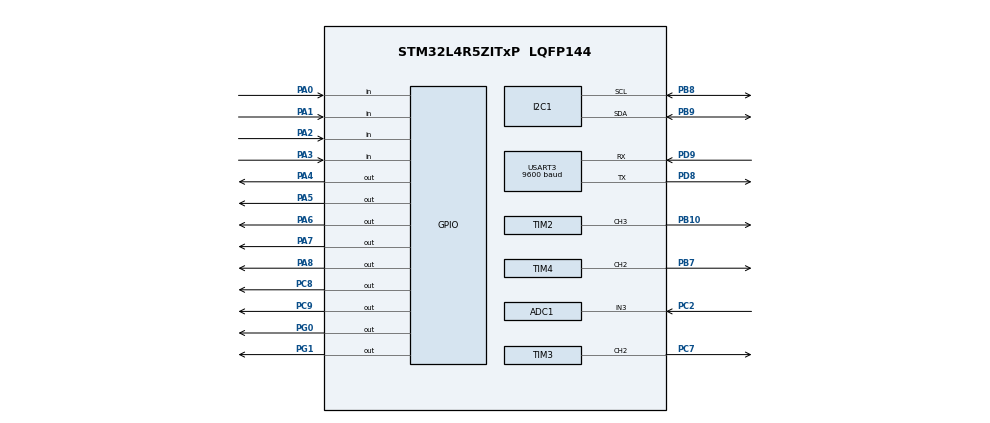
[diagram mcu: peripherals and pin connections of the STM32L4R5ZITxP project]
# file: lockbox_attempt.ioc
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ADC1.Channel-1\#ChannelRegularConversion=ADC_CHANNEL_3
ADC1.ClockPrescaler=ADC_CLOCK_ASYNC_DIV32
ADC1.NbrOfConversionFlag=1
ADC1.OffsetNumber-1\#ChannelRegularConversion=ADC_OFFSET_NONE
ADC1.Rank-1\#ChannelRegularConversion=1
ADC1.SamplingTime-1\#ChannelRegularConversion=ADC_SAMPLETIME_640CYCLES_5
ADC1.master=1
I2C1.Speed=40
I2C1.Timing=0x00000E50
Mcu.Family=STM32L4
Mcu.Name=STM32L4R5ZITxP
Mcu.Package=LQFP144
NVIC.PriorityGroup=NVIC_PRIORITYGROUP_4
NVIC.USART3_IRQn=true\:1\:0\:true\:false\:true\:true\:true\:true
PA0.GPIO_PuPd=GPIO_PULLUP
PA0.Signal=GPIO_Input
PA1.GPIO_PuPd=GPIO_PULLUP
PA1.Signal=GPIO_Input
PA10.Signal=USB_OTG_FS_ID
PA13\ (JTMS/SWDIO).Signal=SYS_JTMS-SWDIO
PA14\ (JTCK/SWCLK).Signal=SYS_JTCK-SWCLK
PA2.GPIO_PuPd=GPIO_PULLUP
PA2.Signal=GPIO_Input
PA3.GPIO_PuPd=GPIO_PULLUP
PA3.Signal=GPIO_Input
PA4.GPIO_ModeDefaultOutputPP=GPIO_MODE_OUTPUT_OD
PA4.GPIO_PuPd=GPIO_NOPULL
PA4.Signal=GPIO_Output
PA5.GPIO_ModeDefaultOutputPP=GPIO_MODE_OUTPUT_OD
PA5.GPIO_PuPd=GPIO_NOPULL
PA5.Signal=GPIO_Output
PA6.GPIO_ModeDefaultOutputPP=GPIO_MODE_OUTPUT_OD
PA6.GPIO_PuPd=GPIO_NOPULL
PA6.Signal=GPIO_Output
PA7.GPIO_ModeDefaultOutputPP=GPIO_MODE_OUTPUT_OD
PA7.GPIO_PuPd=GPIO_NOPULL
PA7.Signal=GPIO_Output
PA8.Signal=GPIO_Output
PA9.Signal=USB_OTG_FS_VBUS
PB0.Signal=S_TIM3_CH3
PB1.Signal=ADCx_IN16
PB10.Signal=S_TIM2_CH3
PB12.Signal=SAI2_FS_A
PB13.Signal=SAI2_SCK_A
PB14.Signal=S_TIM15_CH1
PB15.Signal=SAI2_SD_A
PB2.Signal=COMP1_INP
PB3\ (JTDO/TRACESWO).Signal=SPI3_SCK
PB4\ (NJTRST).Signal=SPI3_MISO
PB5.Signal=SPI3_MOSI
PB6.Signal=COMP2_INP
PB7.Signal=S_TIM4_CH2
PB8.Mode=I2C
PB8.Signal=I2C1_SCL
PB9.Mode=I2C
PB9.Signal=I2C1_SDA
PC10.Signal=SDMMC1_D2
PC11.Signal=SDMMC1_D3
PC12.Signal=SDMMC1_CK
PC13.Signal=SYS_WKUP2
PC14-OSC32_IN\ (PC14).Signal=RCC_OSC32_IN
PC15-OSC32_OUT\ (PC15).Signal=RCC_OSC32_OUT
PC2.Signal=ADCx_IN3
PC4.Signal=ADCx_IN13
PC5.Signal=ADCx_IN14
PC6.Signal=SAI2_MCLK_A
PC7.Signal=S_TIM3_CH2
PC8.GPIO_ModeDefaultOutputPP=GPIO_MODE_OUTPUT_PP
PC8.GPIO_PuPd=GPIO_NOPULL
PC8.Signal=GPIO_Output
PC9.Signal=GPIO_Output
PD0.Signal=CAN1_RX
PD14.Signal=S_TIM4_CH3
PD15.Signal=S_TIM4_CH4
PD2.Signal=SDMMC1_CMD
PD3.Signal=USART2_CTS
PD4.Signal=USART2_RTS
PD5.Signal=USART2_TX
PD6.Signal=USART2_RX
PD8.Mode=Asynchronous
PD8.Signal=USART3_TX
PD9.Mode=Asynchronous
PD9.Signal=USART3_RX
PE0.Signal=S_TIM4_ETR
PE10.Signal=TIM1_CH2N
PE11.Signal=S_TIM1_CH2
PE12.Signal=TIM1_CH3N
PE13.Signal=S_TIM1_CH3
PE14.Signal=TIM1_BKIN2
PE15.Signal=TIM1_BKIN
PE2.Signal=SAI1_MCLK_A
PE3.Signal=SAI1_SD_B
PE7.Signal=S_TIM1_ETR
PE8.Signal=TIM1_CH1N
PE9.Signal=S_TIM1_CH1
PF0.Signal=I2C2_SDA
PF1.Signal=I2C2_SCL
PF2.Signal=I2C2_SMBA
PF7.Signal=SAI1_MCLK_B
PG0.Signal=GPIO_Output
PG1.Signal=GPIO_Output
PG7.Signal=LPUART1_TX
PG8.Signal=LPUART1_RX
PH0-OSC_IN\ (PH0).Signal=RCC_OSC_IN
PH1-OSC_OUT\ (PH1).Signal=RCC_OSC_OUT
ProjectManager.HeapSize=0x200
ProjectManager.StackSize=0x400
ProjectManager.TargetToolchain=STM32CubeIDE
RCC.ADCFreq_Value=32000000
RCC.HSE_VALUE=8000000
RCC.HSI48_VALUE=48000000
RCC.HSI_VALUE=16000000
RCC.LSE_VALUE=32768
RCC.MSI_VALUE=4000000
RCC.PLLSAI1N=16
RCC.USBFreq_Value=32000000
RCC.VCOOutputFreq_Value=32000000
SH.ADCx_IN13.0=ADC1_IN13
SH.ADCx_IN14.0=ADC1_IN14
SH.ADCx_IN16.0=ADC1_IN16
SH.ADCx_IN3.0=ADC1_IN3,IN3-Single-Ended
SH.S_TIM15_CH1.0=TIM15_CH1
SH.S_TIM1_CH1.0=TIM1_CH1
SH.S_TIM1_CH2.0=TIM1_CH2
SH.S_TIM1_CH3.0=TIM1_CH3
SH.S_TIM1_ETR.0=TIM1_ETR
SH.S_TIM2_CH3.0=TIM2_CH3,PWM Generation3 CH3
SH.S_TIM3_CH2.0=TIM3_CH2,PWM Generation2 CH2
SH.S_TIM3_CH3.0=TIM3_CH3
SH.S_TIM4_CH2.0=TIM4_CH2,PWM Generation2 CH2
SH.S_TIM4_CH3.0=TIM4_CH3
SH.S_TIM4_CH4.0=TIM4_CH4
SH.S_TIM4_ETR.0=TIM4_ETR
TIM2.Channel-PWM\ Generation3\ CH3=TIM_CHANNEL_3
TIM2.Period=1999
TIM2.Prescaler=39
TIM2.Pulse-PWM\ Generation3\ CH3=750
TIM3.Channel-PWM\ Generation2\ CH2=TIM_CHANNEL_2
TIM3.Period=1999
TIM3.Prescaler=39
TIM3.Pulse-PWM\ Generation2\ CH2=500
TIM4.Channel-PWM\ Generation2\ CH2=TIM_CHANNEL_2
TIM4.Period=1999
TIM4.Prescaler=39
TIM4.Pulse-PWM\ Generation2\ CH2=150
USART3.BaudRate=9600
USART3.VirtualMode-Asynchronous=VM_ASYNC
VP_TIM2_VS_ClockSourceINT.Mode=Internal
VP_TIM3_VS_ClockSourceINT.Mode=Internal
VP_TIM4_VS_ClockSourceINT.Mode=Internal
board=NUCLEO-L4R5ZI-P

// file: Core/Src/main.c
/* USER CODE BEGIN Header */
/**
  ******************************************************************************
  * @file           : main.c
  * @brief          : Main program body
  ******************************************************************************
  ** This notice applies to any and all portions of this file
  * that are not between comment pairs USER CODE BEGIN and
  * USER CODE END. Other portions of this file, whether
  * inserted by the user or by software development tools
  * are owned by their respective copyright owners.
  *
  * COPYRIGHT(c) 2019 STMicroelectronics
  *
  * Redistribution and use in source and binary forms, with or without modification,
  * are permitted provided that the following conditions are met:
  *   1. Redistributions of source code must retain the above copyright notice,
  *      this list of conditions and the following disclaimer.
  *   2. Redistributions in binary form must reproduce the above copyright notice,
  *      this list of conditions and the following disclaimer in the documentation
  *      and/or other materials provided with the distribution.
  *   3. Neither the name of STMicroelectronics nor the names of its contributors
  *      may be used to endorse or promote products derived from this software
  *      without specific prior written permission.
  *
  * THIS SOFTWARE IS PROVIDED BY THE COPYRIGHT HOLDERS AND CONTRIBUTORS "AS IS"
  * AND ANY EXPRESS OR IMPLIED WARRANTIES, INCLUDING, BUT NOT LIMITED TO, THE
  * IMPLIED WARRANTIES OF MERCHANTABILITY AND FITNESS FOR A PARTICULAR PURPOSE ARE
  * DISCLAIMED. IN NO EVENT SHALL THE COPYRIGHT HOLDER OR CONTRIBUTORS BE LIABLE
  * FOR ANY DIRECT, INDIRECT, INCIDENTAL, SPECIAL, EXEMPLARY, OR CONSEQUENTIAL
  * DAMAGES (INCLUDING, BUT NOT LIMITED TO, PROCUREMENT OF SUBSTITUTE GOODS OR
  * SERVICES; LOSS OF USE, DATA, OR PROFITS; OR BUSINESS INTERRUPTION) HOWEVER
  * CAUSED AND ON ANY THEORY OF LIABILITY, WHETHER IN CONTRACT, STRICT LIABILITY,
  * OR TORT (INCLUDING NEGLIGENCE OR OTHERWISE) ARISING IN ANY WAY OUT OF THE USE
  * OF THIS SOFTWARE, EVEN IF ADVISED OF THE POSSIBILITY OF SUCH DAMAGE.
  *
  ******************************************************************************
  */
/* USER CODE END Header */
#include "main.h"

/* USER CODE BEGIN Includes */
#include "i2c-lcd.h"
#include <stdint.h>
#include <stdbool.h>
#include <string.h>

/* USER CODE END Includes */

/* USER CODE BEGIN PD */
#define R1_PORT GPIOA
#define R1_PIN GPIO_PIN_7

#define R2_PORT GPIOA
#define R2_PIN GPIO_PIN_6

#define R3_PORT GPIOA
#define R3_PIN GPIO_PIN_5

#define R4_PORT GPIOA
#define R4_PIN GPIO_PIN_4

#define C1_PORT GPIOA
#define C1_PIN GPIO_PIN_3

#define C2_PORT GPIOA
#define C2_PIN GPIO_PIN_2

#define C3_PORT GPIOA
#define C3_PIN GPIO_PIN_1

#define C4_PORT GPIOA
#define C4_PIN GPIO_PIN_0

#define MOTORLOGPORT GPIOG
#define MOTORLOG1 GPIO_PIN_0
#define MOTORLOG2 GPIO_PIN_1

#define XBEE_ADDR &huart3
#define LOCK_DOOR 1
#define UNLOCK_DOOR 2

/* USER CODE END PD */

ADC_HandleTypeDef hadc1;

I2C_HandleTypeDef hi2c1;

TIM_HandleTypeDef htim2;
TIM_HandleTypeDef htim3;
TIM_HandleTypeDef htim4;

UART_HandleTypeDef huart3;

/* USER CODE BEGIN PV */

bool open = true;
int IR_count = 0;
/* USER CODE END PV */

void SystemClock_Config(void);
static void MX_GPIO_Init(void);
static void MX_ADC1_Init(void);
static void MX_TIM2_Init(void);
static void MX_TIM3_Init(void);
static void MX_I2C1_Init(void);
static void MX_TIM4_Init(void);
static void MX_USART3_UART_Init(void);

/* USER CODE BEGIN 0 */
uint8_t key;

char read_keypad (void)
{
	/* Make ROW 1 LOW and all other ROWs HIGH */
	read_IR();// probably shouldn't be here but it works
	HAL_GPIO_WritePin (R1_PORT, R1_PIN, 0);  //Pull the R1 low
	HAL_GPIO_WritePin (R2_PORT, R2_PIN, 1);  // Pull the R2 High
	HAL_GPIO_WritePin (R3_PORT, R3_PIN, 1);  // Pull the R3 High
	HAL_GPIO_WritePin (R4_PORT, R4_PIN, 1);  // Pull the R4 High

	if (!(HAL_GPIO_ReadPin (C1_PORT, C1_PIN)))   // if the Col 1 is low
	{
		while (!(HAL_GPIO_ReadPin (C1_PORT, C1_PIN)));   // wait till the button is pressed
		lcd_send_data(0x31); // i
		return '1';
	}

	if (!(HAL_GPIO_ReadPin (C2_PORT, C2_PIN)))   // if the Col 2 is low
	{
		while (!(HAL_GPIO_ReadPin (C2_PORT, C2_PIN)));   // wait till the button is pressed
		lcd_send_data(0x32); // i
		return '2';
	}

	if (!(HAL_GPIO_ReadPin (C3_PORT, C3_PIN)))   // if the Col 3 is low
	{
		while (!(HAL_GPIO_ReadPin (C3_PORT, C3_PIN)));   // wait till the button is pressed
		lcd_send_data(0x33); // i
		return '3';
	}

	if (!(HAL_GPIO_ReadPin (C4_PORT, C4_PIN)))   // if the Col 4 is low
	{
		while (!(HAL_GPIO_ReadPin (C4_PORT, C4_PIN)));   // wait till the button is pressed
		lcd_send_data(0x41); // i
		return 'A';
	}

	/* Make ROW 2 LOW and all other ROWs HIGH */
	HAL_GPIO_WritePin (R1_PORT, R1_PIN, 1);  //Pull the R1 low
	HAL_GPIO_WritePin (R2_PORT, R2_PIN, 0);  // Pull the R2 High
	HAL_GPIO_WritePin (R3_PORT, R3_PIN, 1);  // Pull the R3 High
	HAL_GPIO_WritePin (R4_PORT, R4_PIN, 1);  // Pull the R4 High

	if (!(HAL_GPIO_ReadPin (C1_PORT, C1_PIN)))   // if the Col 1 is low
	{
		while (!(HAL_GPIO_ReadPin (C1_PORT, C1_PIN)));   // wait till the button is pressed
		lcd_send_data(0x34); // i
		return '4';
	}

	if (!(HAL_GPIO_ReadPin (C2_PORT, C2_PIN)))   // if the Col 2 is low
	{
		while (!(HAL_GPIO_ReadPin (C2_PORT, C2_PIN)));   // wait till the button is pressed
		lcd_send_data(0x35); // i
		return '5';
	}

	if (!(HAL_GPIO_ReadPin (C3_PORT, C3_PIN)))   // if the Col 3 is low
	{
		while (!(HAL_GPIO_ReadPin (C3_PORT, C3_PIN)));   // wait till the button is pressed
		lcd_send_data(0x36); // i
		return '6';
	}

	if (!(HAL_GPIO_ReadPin (C4_PORT, C4_PIN)))   // if the Col 4 is low
	{
		while (!(HAL_GPIO_ReadPin (C4_PORT, C4_PIN)));   // wait till the button is pressed
		lcd_send_data(0x42); // i
		return 'B';
	}

	/* Make ROW 3 LOW and all other ROWs HIGH */
	HAL_GPIO_WritePin (R1_PORT, R1_PIN, 1);  //Pull the R1 low
	HAL_GPIO_WritePin (R2_PORT, R2_PIN, 1);  // Pull the R2 High
	HAL_GPIO_WritePin (R3_PORT, R3_PIN, 0);  // Pull the R3 High
	HAL_GPIO_WritePin (R4_PORT, R4_PIN, 1);  // Pull the R4 High

	if (!(HAL_GPIO_ReadPin (C1_PORT, C1_PIN)))   // if the Col 1 is low
	{
		while (!(HAL_GPIO_ReadPin (C1_PORT, C1_PIN)));   // wait till the button is pressed
		lcd_send_data(0x37); // i
		return '7';
	}

	if (!(HAL_GPIO_ReadPin (C2_PORT, C2_PIN)))   // if the Col 2 is low
	{
		while (!(HAL_GPIO_ReadPin (C2_PORT, C2_PIN)));   // wait till the button is pressed
		lcd_send_data(0x38); // i
		return '8';
	}

	if (!(HAL_GPIO_ReadPin (C3_PORT, C3_PIN)))   // if the Col 3 is low
	{
		while (!(HAL_GPIO_ReadPin (C3_PORT, C3_PIN)));   // wait till the button is pressed
		lcd_send_data(0x39); // i
		return '9';
	}

	if (!(HAL_GPIO_ReadPin (C4_PORT, C4_PIN)))   // if the Col 4 is low
	{
		while (!(HAL_GPIO_ReadPin (C4_PORT, C4_PIN)));   // wait till the button is pressed
		return 'C';
	}

	/* Make ROW 4 LOW and all other ROWs HIGH */
	HAL_GPIO_WritePin (R1_PORT, R1_PIN, 1);  //Pull the R1 low
	HAL_GPIO_WritePin (R2_PORT, R2_PIN, 1);  // Pull the R2 High
	HAL_GPIO_WritePin (R3_PORT, R3_PIN, 1);  // Pull the R3 High
	HAL_GPIO_WritePin (R4_PORT, R4_PIN, 0);  // Pull the R4 High

	if (!(HAL_GPIO_ReadPin (C1_PORT, C1_PIN)))   // if the Col 1 is low
	{
		while (!(HAL_GPIO_ReadPin (C1_PORT, C1_PIN)));   // wait till the button is pressed
		return '*';
	}

	if (!(HAL_GPIO_ReadPin (C2_PORT, C2_PIN)))   // if the Col 2 is low
	{
		while (!(HAL_GPIO_ReadPin (C2_PORT, C2_PIN)));   // wait till the button is pressed
		lcd_send_data(0x30); // i
		return '0';
	}

	if (!(HAL_GPIO_ReadPin (C3_PORT, C3_PIN)))   // if the Col 3 is low
	{
		while (!(HAL_GPIO_ReadPin (C3_PORT, C3_PIN)));   // wait till the button is pressed
		lcd_send_data(0x23); // i
		return '#';
	}

	if (!(HAL_GPIO_ReadPin (C4_PORT, C4_PIN)))   // if the Col 4 is low
	{
		while (!(HAL_GPIO_ReadPin (C4_PORT, C4_PIN)));   // wait till the button is pressed
		lcd_send_data(0x44); // i
		return 'D';
	}

	return 0; // if returned, 0, we got an error

}

#define TIM_4_ADDR 0x40000800
#define TIM_CCR2_OFFSET 0x38

uint32_t* tim_4_ccr2 = (uint32_t *) (TIM_4_ADDR + TIM_CCR2_OFFSET);

uint8_t xbee_buff[100] = { 0 };

typedef struct xbee_frame_header {
uint8_t start_delim;
uint16_t length;
uint8_t frame_type;
uint8_t frame_id;
uint16_t dest_addr;
uint8_t options;
} xbee_frame_header_t;

void xbee_send_two_bytes(uint8_t *data, uint8_t *dest) {
	uint8_t checksum = 0xFF;
	xbee_frame_header_t header = {
		.start_delim = 0x7E,
		.length = 7, // num bytes between length and checksum
		.frame_type = 0x01, // 16-bit transmit request
		.frame_id = 0x00, // device will not emit a response frame
		.dest_addr = 0xD161, // broadcast address
		.options = 0, // no options set
	};
	checksum -= (header.frame_type + header.frame_id + dest[0] + dest[1] + data[0] + data[1]);
	uint8_t buf[] = {header.start_delim,
					0,
					header.length,
					header.frame_type,
					header.frame_id,
					dest[0], // dest_addr high bits
					dest[1], // dest_addr low bits
					header.options,
					data[0],
					data[1],
					checksum,
					};
	HAL_UART_Transmit(XBEE_ADDR, buf, 11, 10000); // header + 2 data bytes + 1 checksum byte
}

void HAL_UART_RxCpltCallback(UART_HandleTypeDef *huart)
{
  // handle received message
  uint8_t data[2] = {xbee_buff[8], xbee_buff[9]};

  if (data[0] == UNLOCK_DOOR) {
	  lcd_correct_pass();
	  lcd_init();
  }
  if (data[0] == LOCK_DOOR) {
	  close_door();
  }

  HAL_UART_Receive_IT(&huart3, xbee_buff, 11);
}

/* USER CODE END 0 */

int main(void)
{

  /* MCU Configuration--------------------------------------------------------*/

  /* Reset of all peripherals, Initializes the Flash interface and the Systick. */
  HAL_Init();

  /* Configure the system clock */
  SystemClock_Config();

  /* Initialize all configured peripherals */
  MX_GPIO_Init();
  MX_ADC1_Init();
  MX_TIM2_Init();
  MX_TIM3_Init();
  MX_I2C1_Init();
  MX_TIM4_Init();
  MX_USART3_UART_Init();
  /* USER CODE BEGIN 2 */

  lcd_init();
  close_door();
  HAL_UART_Receive_IT(&huart3, xbee_buff, 11);
  /* USER CODE END 2 */

  /* Infinite loop */
  /* USER CODE BEGIN WHILE */
char real_password[8] = "D";
char nice[] = "69420";
char pass[11] = "\0";
int index = 0;

HAL_TIM_PWM_Start(&htim4, TIM_CHANNEL_2);
HAL_TIM_PWM_Start(&htim2, TIM_CHANNEL_3);
*tim_4_ccr2 &= 0xffff;
*tim_4_ccr2 |= 150;

  while (1)
  {
    /* USER CODE END WHILE */

    /* USER CODE BEGIN 3 */
	  	 // Initialize an empty password of size 10 because of Null
	    char key = 0;
	    while (!key) {
	    	key = read_keypad ();
	    }
		if (key != 'C' && key != '*' && strlen(pass) < 10) {
		    // Append the key to the string
			pass[index++] = key;
			pass[index] = '\0';
		}
		if (key == 'C'){
			pass[0] = '\0';
			index = 0;
			lcd_init();
			open = false;
			HAL_GPIO_WritePin(MOTORLOGPORT, MOTORLOG1, 0);
			HAL_GPIO_WritePin(MOTORLOGPORT, MOTORLOG2, 1);

  	  	  }
		if (key == '*'){
			if (!strcmp(pass, nice)){
				lcd_nice();
			}
			else if (!strcmp(pass, real_password)) {
			     lcd_correct_pass();
			} else {
			     lcd_incorrect_pass();
			}
			pass[0] = '\0';
			index = 0;
			lcd_init();
		}
		if (strlen(pass) >= 10){
			lcd_incorrect_pass();
			pass[0] = '\0';
			index = 0;
			lcd_init();
		}

//		if (key!=0x01)
//		{
//		//lcd_send_cmd (0x85); dont know what this was supposed to be
//		lcd_send_data (key);
//		}

  }
  /* USER CODE END 3 */
}

void SystemClock_Config(void)
{
  RCC_OscInitTypeDef RCC_OscInitStruct = {0};
  RCC_ClkInitTypeDef RCC_ClkInitStruct = {0};

  /** Configure the main internal regulator output voltage
  */
  if (HAL_PWREx_ControlVoltageScaling(PWR_REGULATOR_VOLTAGE_SCALE1) != HAL_OK)
  {
    Error_Handler();
  }

  /** Initializes the RCC Oscillators according to the specified parameters
  * in the RCC_OscInitTypeDef structure.
  */
  RCC_OscInitStruct.OscillatorType = RCC_OSCILLATORTYPE_MSI;
  RCC_OscInitStruct.MSIState = RCC_MSI_ON;
  RCC_OscInitStruct.MSICalibrationValue = 0;
  RCC_OscInitStruct.MSIClockRange = RCC_MSIRANGE_6;
  RCC_OscInitStruct.PLL.PLLState = RCC_PLL_NONE;
  if (HAL_RCC_OscConfig(&RCC_OscInitStruct) != HAL_OK)
  {
    Error_Handler();
  }

  /** Initializes the CPU, AHB and APB buses clocks
  */
  RCC_ClkInitStruct.ClockType = RCC_CLOCKTYPE_HCLK|RCC_CLOCKTYPE_SYSCLK
                              |RCC_CLOCKTYPE_PCLK1|RCC_CLOCKTYPE_PCLK2;
  RCC_ClkInitStruct.SYSCLKSource = RCC_SYSCLKSOURCE_MSI;
  RCC_ClkInitStruct.AHBCLKDivider = RCC_SYSCLK_DIV1;
  RCC_ClkInitStruct.APB1CLKDivider = RCC_HCLK_DIV1;
  RCC_ClkInitStruct.APB2CLKDivider = RCC_HCLK_DIV1;

  if (HAL_RCC_ClockConfig(&RCC_ClkInitStruct, FLASH_LATENCY_0) != HAL_OK)
  {
    Error_Handler();
  }
}

static void MX_ADC1_Init(void)
{

  ADC_ChannelConfTypeDef sConfig = {0};

  /** Common config
  */
  hadc1.Instance = ADC1;
  hadc1.Init.ClockPrescaler = ADC_CLOCK_ASYNC_DIV32;
  hadc1.Init.Resolution = ADC_RESOLUTION_12B;
  hadc1.Init.DataAlign = ADC_DATAALIGN_RIGHT;
  hadc1.Init.ScanConvMode = ADC_SCAN_DISABLE;
  hadc1.Init.EOCSelection = ADC_EOC_SINGLE_CONV;
  hadc1.Init.LowPowerAutoWait = DISABLE;
  hadc1.Init.ContinuousConvMode = DISABLE;
  hadc1.Init.NbrOfConversion = 1;
  hadc1.Init.DiscontinuousConvMode = DISABLE;
  hadc1.Init.ExternalTrigConv = ADC_SOFTWARE_START;
  hadc1.Init.ExternalTrigConvEdge = ADC_EXTERNALTRIGCONVEDGE_NONE;
  hadc1.Init.DMAContinuousRequests = DISABLE;
  hadc1.Init.Overrun = ADC_OVR_DATA_PRESERVED;
  hadc1.Init.OversamplingMode = DISABLE;
  if (HAL_ADC_Init(&hadc1) != HAL_OK)
  {
    Error_Handler();
  }

  /** Configure Regular Channel
  */
  sConfig.Channel = ADC_CHANNEL_3;
  sConfig.Rank = ADC_REGULAR_RANK_1;
  sConfig.SamplingTime = ADC_SAMPLETIME_640CYCLES_5;
  sConfig.SingleDiff = ADC_SINGLE_ENDED;
  sConfig.OffsetNumber = ADC_OFFSET_NONE;
  sConfig.Offset = 0;
  if (HAL_ADC_ConfigChannel(&hadc1, &sConfig) != HAL_OK)
  {
    Error_Handler();
  }

}

static void MX_I2C1_Init(void)
{

  hi2c1.Instance = I2C1;
  hi2c1.Init.Timing = 0x00000E50;
  hi2c1.Init.OwnAddress1 = 0;
  hi2c1.Init.AddressingMode = I2C_ADDRESSINGMODE_7BIT;
  hi2c1.Init.DualAddressMode = I2C_DUALADDRESS_DISABLE;
  hi2c1.Init.OwnAddress2 = 0;
  hi2c1.Init.OwnAddress2Masks = I2C_OA2_NOMASK;
  hi2c1.Init.GeneralCallMode = I2C_GENERALCALL_DISABLE;
  hi2c1.Init.NoStretchMode = I2C_NOSTRETCH_DISABLE;
  if (HAL_I2C_Init(&hi2c1) != HAL_OK)
  {
    Error_Handler();
  }

  /** Configure Analogue filter
  */
  if (HAL_I2CEx_ConfigAnalogFilter(&hi2c1, I2C_ANALOGFILTER_ENABLE) != HAL_OK)
  {
    Error_Handler();
  }

  /** Configure Digital filter
  */
  if (HAL_I2CEx_ConfigDigitalFilter(&hi2c1, 0) != HAL_OK)
  {
    Error_Handler();
  }

}

static void MX_TIM2_Init(void)
{

  TIM_ClockConfigTypeDef sClockSourceConfig = {0};
  TIM_MasterConfigTypeDef sMasterConfig = {0};
  TIM_OC_InitTypeDef sConfigOC = {0};

  htim2.Instance = TIM2;
  htim2.Init.Prescaler = 39;
  htim2.Init.CounterMode = TIM_COUNTERMODE_UP;
  htim2.Init.Period = 1999;
  htim2.Init.ClockDivision = TIM_CLOCKDIVISION_DIV1;
  htim2.Init.AutoReloadPreload = TIM_AUTORELOAD_PRELOAD_DISABLE;
  if (HAL_TIM_Base_Init(&htim2) != HAL_OK)
  {
    Error_Handler();
  }
  sClockSourceConfig.ClockSource = TIM_CLOCKSOURCE_INTERNAL;
  if (HAL_TIM_ConfigClockSource(&htim2, &sClockSourceConfig) != HAL_OK)
  {
    Error_Handler();
  }
  if (HAL_TIM_PWM_Init(&htim2) != HAL_OK)
  {
    Error_Handler();
  }
  sMasterConfig.MasterOutputTrigger = TIM_TRGO_RESET;
  sMasterConfig.MasterSlaveMode = TIM_MASTERSLAVEMODE_DISABLE;
  if (HAL_TIMEx_MasterConfigSynchronization(&htim2, &sMasterConfig) != HAL_OK)
  {
    Error_Handler();
  }
  sConfigOC.OCMode = TIM_OCMODE_PWM1;
  sConfigOC.Pulse = 750;
  sConfigOC.OCPolarity = TIM_OCPOLARITY_HIGH;
  sConfigOC.OCFastMode = TIM_OCFAST_DISABLE;
  if (HAL_TIM_PWM_ConfigChannel(&htim2, &sConfigOC, TIM_CHANNEL_3) != HAL_OK)
  {
    Error_Handler();
  }
  HAL_TIM_MspPostInit(&htim2);

}

static void MX_TIM3_Init(void)
{

  TIM_ClockConfigTypeDef sClockSourceConfig = {0};
  TIM_MasterConfigTypeDef sMasterConfig = {0};
  TIM_OC_InitTypeDef sConfigOC = {0};

  htim3.Instance = TIM3;
  htim3.Init.Prescaler = 39;
  htim3.Init.CounterMode = TIM_COUNTERMODE_UP;
  htim3.Init.Period = 1999;
  htim3.Init.ClockDivision = TIM_CLOCKDIVISION_DIV1;
  htim3.Init.AutoReloadPreload = TIM_AUTORELOAD_PRELOAD_DISABLE;
  if (HAL_TIM_Base_Init(&htim3) != HAL_OK)
  {
    Error_Handler();
  }
  sClockSourceConfig.ClockSource = TIM_CLOCKSOURCE_INTERNAL;
  if (HAL_TIM_ConfigClockSource(&htim3, &sClockSourceConfig) != HAL_OK)
  {
    Error_Handler();
  }
  if (HAL_TIM_PWM_Init(&htim3) != HAL_OK)
  {
    Error_Handler();
  }
  sMasterConfig.MasterOutputTrigger = TIM_TRGO_RESET;
  sMasterConfig.MasterSlaveMode = TIM_MASTERSLAVEMODE_DISABLE;
  if (HAL_TIMEx_MasterConfigSynchronization(&htim3, &sMasterConfig) != HAL_OK)
  {
    Error_Handler();
  }
  sConfigOC.OCMode = TIM_OCMODE_PWM1;
  sConfigOC.Pulse = 500;
  sConfigOC.OCPolarity = TIM_OCPOLARITY_HIGH;
  sConfigOC.OCFastMode = TIM_OCFAST_DISABLE;
  if (HAL_TIM_PWM_ConfigChannel(&htim3, &sConfigOC, TIM_CHANNEL_2) != HAL_OK)
  {
    Error_Handler();
  }
  HAL_TIM_MspPostInit(&htim3);

}

static void MX_TIM4_Init(void)
{

  TIM_ClockConfigTypeDef sClockSourceConfig = {0};
  TIM_MasterConfigTypeDef sMasterConfig = {0};
  TIM_OC_InitTypeDef sConfigOC = {0};

  htim4.Instance = TIM4;
  htim4.Init.Prescaler = 39;
  htim4.Init.CounterMode = TIM_COUNTERMODE_UP;
  htim4.Init.Period = 1999;
  htim4.Init.ClockDivision = TIM_CLOCKDIVISION_DIV1;
  htim4.Init.AutoReloadPreload = TIM_AUTORELOAD_PRELOAD_DISABLE;
  if (HAL_TIM_Base_Init(&htim4) != HAL_OK)
  {
    Error_Handler();
  }
  sClockSourceConfig.ClockSource = TIM_CLOCKSOURCE_INTERNAL;
  if (HAL_TIM_ConfigClockSource(&htim4, &sClockSourceConfig) != HAL_OK)
  {
    Error_Handler();
  }
  if (HAL_TIM_PWM_Init(&htim4) != HAL_OK)
  {
    Error_Handler();
  }
  sMasterConfig.MasterOutputTrigger = TIM_TRGO_RESET;
  sMasterConfig.MasterSlaveMode = TIM_MASTERSLAVEMODE_DISABLE;
  if (HAL_TIMEx_MasterConfigSynchronization(&htim4, &sMasterConfig) != HAL_OK)
  {
    Error_Handler();
  }
  sConfigOC.OCMode = TIM_OCMODE_PWM1;
  sConfigOC.Pulse = 150;
  sConfigOC.OCPolarity = TIM_OCPOLARITY_HIGH;
  sConfigOC.OCFastMode = TIM_OCFAST_DISABLE;
  if (HAL_TIM_PWM_ConfigChannel(&htim4, &sConfigOC, TIM_CHANNEL_2) != HAL_OK)
  {
    Error_Handler();
  }
  HAL_TIM_MspPostInit(&htim4);

}

static void MX_USART3_UART_Init(void)
{

  huart3.Instance = USART3;
  huart3.Init.BaudRate = 9600;
  huart3.Init.WordLength = UART_WORDLENGTH_8B;
  huart3.Init.StopBits = UART_STOPBITS_1;
  huart3.Init.Parity = UART_PARITY_NONE;
  huart3.Init.Mode = UART_MODE_TX_RX;
  huart3.Init.HwFlowCtl = UART_HWCONTROL_NONE;
  huart3.Init.OverSampling = UART_OVERSAMPLING_16;
  huart3.Init.OneBitSampling = UART_ONE_BIT_SAMPLE_DISABLE;
  huart3.Init.ClockPrescaler = UART_PRESCALER_DIV1;
  huart3.AdvancedInit.AdvFeatureInit = UART_ADVFEATURE_NO_INIT;
  if (HAL_UART_Init(&huart3) != HAL_OK)
  {
    Error_Handler();
  }
  if (HAL_UARTEx_SetTxFifoThreshold(&huart3, UART_TXFIFO_THRESHOLD_1_8) != HAL_OK)
  {
    Error_Handler();
  }
  if (HAL_UARTEx_SetRxFifoThreshold(&huart3, UART_RXFIFO_THRESHOLD_1_8) != HAL_OK)
  {
    Error_Handler();
  }
  if (HAL_UARTEx_DisableFifoMode(&huart3) != HAL_OK)
  {
    Error_Handler();
  }

}

static void MX_GPIO_Init(void)
{
  GPIO_InitTypeDef GPIO_InitStruct = {0};

  /* GPIO Ports Clock Enable */
  __HAL_RCC_GPIOE_CLK_ENABLE();
  __HAL_RCC_GPIOC_CLK_ENABLE();
  __HAL_RCC_GPIOF_CLK_ENABLE();
  __HAL_RCC_GPIOH_CLK_ENABLE();
  __HAL_RCC_GPIOA_CLK_ENABLE();
  __HAL_RCC_GPIOB_CLK_ENABLE();
  __HAL_RCC_GPIOG_CLK_ENABLE();
  __HAL_RCC_GPIOD_CLK_ENABLE();
  HAL_PWREx_EnableVddIO2();

  /*Configure GPIO pin Output Level */
  HAL_GPIO_WritePin(GPIOA, GPIO_PIN_4|GPIO_PIN_5|GPIO_PIN_6|GPIO_PIN_7
                          |GPIO_PIN_8, GPIO_PIN_RESET);

  /*Configure GPIO pin Output Level */
  HAL_GPIO_WritePin(GPIOG, GPIO_PIN_0|GPIO_PIN_1, GPIO_PIN_RESET);

  /*Configure GPIO pin Output Level */
  HAL_GPIO_WritePin(GPIOC, GPIO_PIN_8|GPIO_PIN_9, GPIO_PIN_RESET);

  /*Configure GPIO pins : PE2 PE3 */
  GPIO_InitStruct.Pin = GPIO_PIN_2|GPIO_PIN_3;
  GPIO_InitStruct.Mode = GPIO_MODE_AF_PP;
  GPIO_InitStruct.Pull = GPIO_NOPULL;
  GPIO_InitStruct.Speed = GPIO_SPEED_FREQ_LOW;
  GPIO_InitStruct.Alternate = GPIO_AF13_SAI1;
  HAL_GPIO_Init(GPIOE, &GPIO_InitStruct);

  /*Configure GPIO pins : PF0 PF1 PF2 */
  GPIO_InitStruct.Pin = GPIO_PIN_0|GPIO_PIN_1|GPIO_PIN_2;
  GPIO_InitStruct.Mode = GPIO_MODE_AF_OD;
  GPIO_InitStruct.Pull = GPIO_NOPULL;
  GPIO_InitStruct.Speed = GPIO_SPEED_FREQ_VERY_HIGH;
  GPIO_InitStruct.Alternate = GPIO_AF4_I2C2;
  HAL_GPIO_Init(GPIOF, &GPIO_InitStruct);

  /*Configure GPIO pin : PF7 */
  GPIO_InitStruct.Pin = GPIO_PIN_7;
  GPIO_InitStruct.Mode = GPIO_MODE_AF_PP;
  GPIO_InitStruct.Pull = GPIO_NOPULL;
  GPIO_InitStruct.Speed = GPIO_SPEED_FREQ_LOW;
  GPIO_InitStruct.Alternate = GPIO_AF13_SAI1;
  HAL_GPIO_Init(GPIOF, &GPIO_InitStruct);

  /*Configure GPIO pins : PA0 PA1 PA2 PA3 */
  GPIO_InitStruct.Pin = GPIO_PIN_0|GPIO_PIN_1|GPIO_PIN_2|GPIO_PIN_3;
  GPIO_InitStruct.Mode = GPIO_MODE_INPUT;
  GPIO_InitStruct.Pull = GPIO_PULLUP;
  HAL_GPIO_Init(GPIOA, &GPIO_InitStruct);

  /*Configure GPIO pins : PA4 PA5 PA6 PA7 */
  GPIO_InitStruct.Pin = GPIO_PIN_4|GPIO_PIN_5|GPIO_PIN_6|GPIO_PIN_7;
  GPIO_InitStruct.Mode = GPIO_MODE_OUTPUT_OD;
  GPIO_InitStruct.Pull = GPIO_NOPULL;
  GPIO_InitStruct.Speed = GPIO_SPEED_FREQ_LOW;
  HAL_GPIO_Init(GPIOA, &GPIO_InitStruct);

  /*Configure GPIO pins : PB2 PB6 */
  GPIO_InitStruct.Pin = GPIO_PIN_2|GPIO_PIN_6;
  GPIO_InitStruct.Mode = GPIO_MODE_ANALOG;
  GPIO_InitStruct.Pull = GPIO_NOPULL;
  HAL_GPIO_Init(GPIOB, &GPIO_InitStruct);

  /*Configure GPIO pins : PG0 PG1 */
  GPIO_InitStruct.Pin = GPIO_PIN_0|GPIO_PIN_1;
  GPIO_InitStruct.Mode = GPIO_MODE_OUTPUT_PP;
  GPIO_InitStruct.Pull = GPIO_NOPULL;
  GPIO_InitStruct.Speed = GPIO_SPEED_FREQ_LOW;
  HAL_GPIO_Init(GPIOG, &GPIO_InitStruct);

  /*Configure GPIO pins : PE7 PE8 PE9 PE10
                           PE11 PE12 PE13 */
  GPIO_InitStruct.Pin = GPIO_PIN_7|GPIO_PIN_8|GPIO_PIN_9|GPIO_PIN_10
                          |GPIO_PIN_11|GPIO_PIN_12|GPIO_PIN_13;
  GPIO_InitStruct.Mode = GPIO_MODE_AF_PP;
  GPIO_InitStruct.Pull = GPIO_NOPULL;
  GPIO_InitStruct.Speed = GPIO_SPEED_FREQ_LOW;
  GPIO_InitStruct.Alternate = GPIO_AF1_TIM1;
  HAL_GPIO_Init(GPIOE, &GPIO_InitStruct);

  /*Configure GPIO pins : PE14 PE15 */
  GPIO_InitStruct.Pin = GPIO_PIN_14|GPIO_PIN_15;
  GPIO_InitStruct.Mode = GPIO_MODE_AF_PP;
  GPIO_InitStruct.Pull = GPIO_NOPULL;
  GPIO_InitStruct.Speed = GPIO_SPEED_FREQ_LOW;
  GPIO_InitStruct.Alternate = GPIO_AF3_TIM1_COMP1;
  HAL_GPIO_Init(GPIOE, &GPIO_InitStruct);

  /*Configure GPIO pins : PB12 PB13 PB15 */
  GPIO_InitStruct.Pin = GPIO_PIN_12|GPIO_PIN_13|GPIO_PIN_15;
  GPIO_InitStruct.Mode = GPIO_MODE_AF_PP;
  GPIO_InitStruct.Pull = GPIO_NOPULL;
  GPIO_InitStruct.Speed = GPIO_SPEED_FREQ_LOW;
  GPIO_InitStruct.Alternate = GPIO_AF13_SAI2;
  HAL_GPIO_Init(GPIOB, &GPIO_InitStruct);

  /*Configure GPIO pin : PB14 */
  GPIO_InitStruct.Pin = GPIO_PIN_14;
  GPIO_InitStruct.Mode = GPIO_MODE_AF_PP;
  GPIO_InitStruct.Pull = GPIO_NOPULL;
  GPIO_InitStruct.Speed = GPIO_SPEED_FREQ_LOW;
  GPIO_InitStruct.Alternate = GPIO_AF14_TIM15;
  HAL_GPIO_Init(GPIOB, &GPIO_InitStruct);

  /*Configure GPIO pins : PG7 PG8 */
  GPIO_InitStruct.Pin = GPIO_PIN_7|GPIO_PIN_8;
  GPIO_InitStruct.Mode = GPIO_MODE_AF_PP;
  GPIO_InitStruct.Pull = GPIO_NOPULL;
  GPIO_InitStruct.Speed = GPIO_SPEED_FREQ_VERY_HIGH;
  GPIO_InitStruct.Alternate = GPIO_AF8_LPUART1;
  HAL_GPIO_Init(GPIOG, &GPIO_InitStruct);

  /*Configure GPIO pin : PC6 */
  GPIO_InitStruct.Pin = GPIO_PIN_6;
  GPIO_InitStruct.Mode = GPIO_MODE_AF_PP;
  GPIO_InitStruct.Pull = GPIO_NOPULL;
  GPIO_InitStruct.Speed = GPIO_SPEED_FREQ_LOW;
  GPIO_InitStruct.Alternate = GPIO_AF13_SAI2;
  HAL_GPIO_Init(GPIOC, &GPIO_InitStruct);

  /*Configure GPIO pins : PC8 PC9 */
  GPIO_InitStruct.Pin = GPIO_PIN_8|GPIO_PIN_9;
  GPIO_InitStruct.Mode = GPIO_MODE_OUTPUT_PP;
  GPIO_InitStruct.Pull = GPIO_NOPULL;
  GPIO_InitStruct.Speed = GPIO_SPEED_FREQ_LOW;
  HAL_GPIO_Init(GPIOC, &GPIO_InitStruct);

  /*Configure GPIO pin : PA8 */
  GPIO_InitStruct.Pin = GPIO_PIN_8;
  GPIO_InitStruct.Mode = GPIO_MODE_OUTPUT_PP;
  GPIO_InitStruct.Pull = GPIO_NOPULL;
  GPIO_InitStruct.Speed = GPIO_SPEED_FREQ_LOW;
  HAL_GPIO_Init(GPIOA, &GPIO_InitStruct);

  /*Configure GPIO pin : PA9 */
  GPIO_InitStruct.Pin = GPIO_PIN_9;
  GPIO_InitStruct.Mode = GPIO_MODE_INPUT;
  GPIO_InitStruct.Pull = GPIO_NOPULL;
  HAL_GPIO_Init(GPIOA, &GPIO_InitStruct);

  /*Configure GPIO pin : PA10 */
  GPIO_InitStruct.Pin = GPIO_PIN_10;
  GPIO_InitStruct.Mode = GPIO_MODE_AF_PP;
  GPIO_InitStruct.Pull = GPIO_NOPULL;
  GPIO_InitStruct.Speed = GPIO_SPEED_FREQ_VERY_HIGH;
  GPIO_InitStruct.Alternate = GPIO_AF10_OTG_FS;
  HAL_GPIO_Init(GPIOA, &GPIO_InitStruct);

  /*Configure GPIO pins : PC10 PC11 PC12 */
  GPIO_InitStruct.Pin = GPIO_PIN_10|GPIO_PIN_11|GPIO_PIN_12;
  GPIO_InitStruct.Mode = GPIO_MODE_AF_PP;
  GPIO_InitStruct.Pull = GPIO_NOPULL;
  GPIO_InitStruct.Speed = GPIO_SPEED_FREQ_VERY_HIGH;
  GPIO_InitStruct.Alternate = GPIO_AF12_SDMMC1;
  HAL_GPIO_Init(GPIOC, &GPIO_InitStruct);

  /*Configure GPIO pin : PD0 */
  GPIO_InitStruct.Pin = GPIO_PIN_0;
  GPIO_InitStruct.Mode = GPIO_MODE_AF_PP;
  GPIO_InitStruct.Pull = GPIO_NOPULL;
  GPIO_InitStruct.Speed = GPIO_SPEED_FREQ_VERY_HIGH;
  GPIO_InitStruct.Alternate = GPIO_AF9_CAN1;
  HAL_GPIO_Init(GPIOD, &GPIO_InitStruct);

  /*Configure GPIO pin : PD2 */
  GPIO_InitStruct.Pin = GPIO_PIN_2;
  GPIO_InitStruct.Mode = GPIO_MODE_AF_PP;
  GPIO_InitStruct.Pull = GPIO_NOPULL;
  GPIO_InitStruct.Speed = GPIO_SPEED_FREQ_VERY_HIGH;
  GPIO_InitStruct.Alternate = GPIO_AF12_SDMMC1;
  HAL_GPIO_Init(GPIOD, &GPIO_InitStruct);

  /*Configure GPIO pins : PD3 PD4 PD5 PD6 */
  GPIO_InitStruct.Pin = GPIO_PIN_3|GPIO_PIN_4|GPIO_PIN_5|GPIO_PIN_6;
  GPIO_InitStruct.Mode = GPIO_MODE_AF_PP;
  GPIO_InitStruct.Pull = GPIO_NOPULL;
  GPIO_InitStruct.Speed = GPIO_SPEED_FREQ_VERY_HIGH;
  GPIO_InitStruct.Alternate = GPIO_AF7_USART2;
  HAL_GPIO_Init(GPIOD, &GPIO_InitStruct);

  /*Configure GPIO pins : PB3 PB4 PB5 */
  GPIO_InitStruct.Pin = GPIO_PIN_3|GPIO_PIN_4|GPIO_PIN_5;
  GPIO_InitStruct.Mode = GPIO_MODE_AF_PP;
  GPIO_InitStruct.Pull = GPIO_NOPULL;
  GPIO_InitStruct.Speed = GPIO_SPEED_FREQ_VERY_HIGH;
  GPIO_InitStruct.Alternate = GPIO_AF6_SPI3;
  HAL_GPIO_Init(GPIOB, &GPIO_InitStruct);

}

void Error_Handler(void)
{
}
